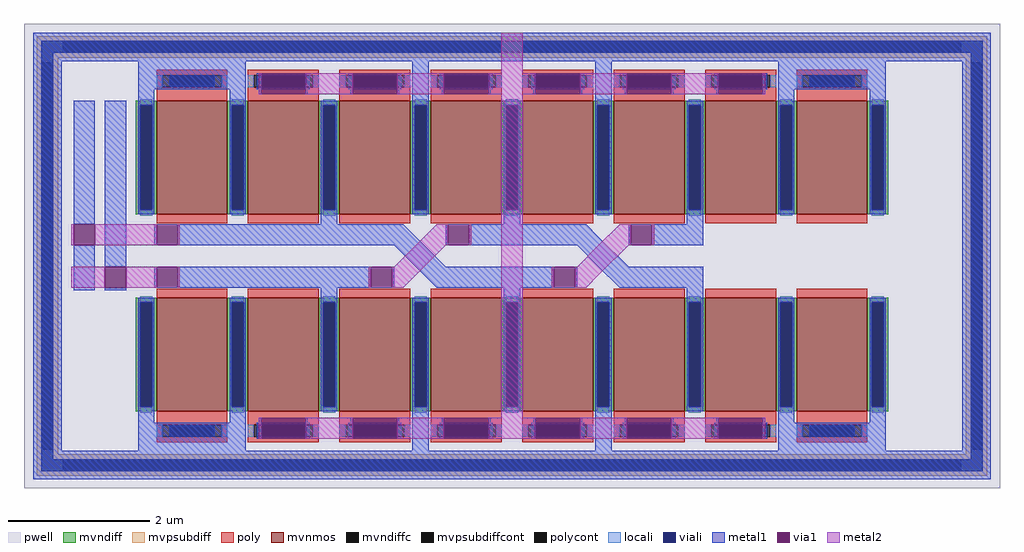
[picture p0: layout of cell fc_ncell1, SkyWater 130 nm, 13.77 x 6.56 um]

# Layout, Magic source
magic
tech sky130A
magscale 1 2
<< pwell >>
rect 94 -748 2848 564
<< mvpsubdiffcont >>
rect 203 481 2739 515
rect 143 -639 177 455
rect 2765 -639 2799 455
rect 203 -699 2739 -665
<< viali >>
rect 143 481 203 515
rect 203 481 2739 515
rect 2739 481 2799 515
rect 143 455 177 481
rect 143 -639 177 455
rect 143 -665 177 -639
rect 2765 455 2799 481
rect 2765 -639 2799 455
rect 2765 -665 2799 -639
rect 143 -699 203 -665
rect 203 -699 2739 -665
rect 2739 -699 2799 -665
<< metal1 >>
rect 234 -2 294 346
rect 234 -188 294 -62
rect 322 -122 382 346
rect 932 -2 978 26
rect 1448 -2 1494 26
rect 1964 -2 2010 26
rect 462 -62 468 -2
rect 528 -62 1067 -2
rect 1356 -62 1583 -2
rect 1872 -62 2010 -2
rect 462 -182 468 -122
rect 528 -182 1067 -122
rect 1356 -182 1583 -122
rect 1872 -182 2010 -122
rect 322 -188 382 -182
rect 932 -210 978 -182
rect 1448 -210 1494 -182
rect 1964 -210 2010 -182
<< via1 >>
rect 234 -62 294 -2
rect 468 -62 528 -2
rect 322 -182 382 -122
rect 468 -182 528 -122
<< metal2 >>
rect 228 -62 234 -2
rect 294 -62 468 -2
rect 528 -62 534 -2
rect 228 -182 322 -122
rect 382 -182 468 -122
rect 528 -182 534 -122
rect 1441 -608 1501 538
use cross_pair  cross_pair_0
transform -1 0 37986 0 -1 1853
box 36114 1855 36403 2035
use cross_pair  cross_pair_1
transform -1 0 37470 0 -1 1853
box 36114 1855 36403 2035
use fc_ncell1_half  fc_ncell1_half_0
transform -1 0 1491 0 -1 -184
box -1331 -92 1371 538
use fc_ncell1_half  fc_ncell1_half_1
transform -1 0 1491 0 1 0
box -1331 -92 1371 538
<< end >>

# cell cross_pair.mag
magic
tech sky130A
magscale 1 2
<< metal1 >>
rect 36114 1975 36211 2035
tri 36211 1975 36271 2035 sw
rect 36331 1975 36337 2035
rect 36397 1975 36403 2035
rect 36114 1855 36120 1915
rect 36180 1855 36186 1915
tri 36186 1890 36271 1975 ne
tri 36271 1915 36331 1975 sw
rect 36271 1890 36403 1915
tri 36271 1855 36306 1890 ne
rect 36306 1855 36403 1890
<< via1 >>
rect 36337 1975 36397 2035
rect 36120 1855 36180 1915
<< metal2 >>
tri 36271 2000 36306 2035 se
rect 36306 2000 36337 2035
tri 36186 1915 36271 2000 se
rect 36271 1975 36337 2000
rect 36397 1975 36403 2035
tri 36271 1915 36331 1975 nw
rect 36114 1855 36120 1915
rect 36180 1855 36211 1915
tri 36211 1855 36271 1915 nw
<< end >>

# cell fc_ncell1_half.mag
magic
tech sky130A
magscale 1 2
use fc_ncell1_4  fc_ncell1_4_0
transform 1 0 1 0 1 0
box -10 -92 1370 538
use fc_ncell1_4  fc_ncell1_4_1
transform -1 0 39 0 1 0
box -10 -92 1370 538
<< end >>

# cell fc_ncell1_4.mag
magic
tech sky130A
magscale 1 2
<< mvpsubdiff >>
rect 19 468 1360 528
rect 1300 -92 1360 468
<< locali >>
rect 19 481 1347 515
rect 1313 -92 1347 481
<< metal1 >>
rect 19 458 1370 538
rect 79 364 85 424
rect 211 364 217 424
rect 254 346 300 458
rect 337 364 343 424
rect 469 364 475 424
rect 595 364 601 424
rect 727 364 733 424
rect 770 378 1074 458
rect 770 346 816 378
rect 1028 346 1074 378
rect 1290 -92 1370 458
<< via1 >>
rect 85 364 211 424
rect 343 364 469 424
rect 601 364 727 424
<< metal2 >>
rect 19 364 85 424
rect 211 364 343 424
rect 469 364 601 424
rect 727 364 733 424
use sky130_fd_pr__nfet_g5v0d10v5_VZ2S5U  sky130_fd_pr__nfet_g5v0d10v5_VZ2S5U_0
transform 1 0 535 0 1 217
box -545 -217 545 217
<< end >>

# cell sky130_fd_pr__nfet_g5v0d10v5_VZ2S5U: kit device sky130_fd_pr__nfet_g5v0d10v5, w 1.6 l 1 m 1 nf 4 diffcov 100 polycov 100 guard 0 glc 1 grc 1 gtc 1 gbc 1 tbcov 100 rlcov 100 topc 1 botc 0 poverlap 0 doverlap 1 lmin 0.50 wmin 0.42 compatible {sky130_fd_pr__nfet_01v8 sky130_fd_pr__nfet_01v8_lvt sky130_fd_bs_flash__special_sonosfet_star sky130_fd_pr__nfet_g5v0d10v5 sky130_fd_pr__nfet_05v0_nvt sky130_fd_pr__nfet_03v3_nvt} full_metal 1 viasrc 100 viadrn 100 viagate 75 viagb 0 viagr 0 viagl 0 viagt 0
